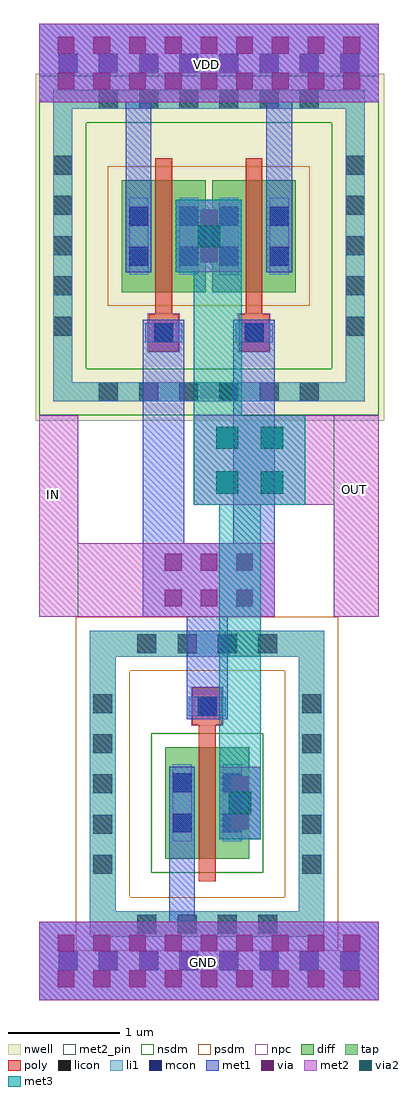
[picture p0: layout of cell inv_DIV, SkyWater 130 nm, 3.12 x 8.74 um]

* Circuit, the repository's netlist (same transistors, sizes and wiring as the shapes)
** sch_path: /foss/designs/RO_Aging_UNICASS/DIV/inv_DIV/inv_DIV.sch
.subckt inv_DIV VDD OUT IN GND
*.PININFO VDD:B OUT:B GND:B IN:B
M3 OUT IN GND GND sky130_fd_pr__nfet_01v8 L=0.15 W=1 nf=1 m=1
M1 OUT IN VDD VDD sky130_fd_pr__pfet_01v8 L=0.15 W=1 nf=1 m=2
.ends
.end

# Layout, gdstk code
import gdstk
lib = gdstk.Library(unit=1e-6, precision=1e-09)
def R(c, l, rs):  # rectangles x0, y0, x1, y1
    for r in rs: c.add(gdstk.rectangle(r[:2], r[2:], *l))
def A(c, l, x, y, w, h, nx, ny, dx, dy):  # array of equal rectangles
    R(c, l, [(x+i*dx, y+j*dy, x+i*dx+w, y+j*dy+h) for i in range(nx) for j in range(ny)])
def P(c, l, *ps):  # polygons
    for p in ps: c.add(gdstk.Polygon(p, *l))
nwell = (64, 20)
diff = (65, 20)
tap = (65, 44)
poly = (66, 20)
licon = (66, 44)
li1 = (67, 20)
mcon = (67, 44)
met1 = (68, 20)
via = (68, 44)
met2_pin = (69, 16)
met2 = (69, 20)
via2 = (69, 44)
met3 = (70, 20)
nsdm = (93, 44)
psdm = (94, 20)
npc = (95, 20)

vias_gen_3 = lib.new_cell('vias_gen$3')
R(vias_gen_3, li1, [(0,0,3.04,0.7)])
A(vias_gen_3, mcon, 0.175, 0.265, 0.17, 0.17, 8, 1, 0.36, 0)
R(vias_gen_3, met1, [(0,0,3.04,0.7)])
A(vias_gen_3, via, 0.165, 0.115, 0.15, 0.15, 9, 2, 0.32, 0.32)
R(vias_gen_3, met2, [(0,0,3.04,0.7)])

pfet = lib.new_cell('pfet')
R(pfet, nwell, [(-0.305,-0.72,1.055,1.38)])
R(pfet, diff, [(0,0,0.75,1)])
R(pfet, poly, [(0.24,-0.53,0.51,-0.2), (0.3,-0.2,0.45,1.2)])
R(pfet, licon, [(0.29,-0.45,0.46,-0.28), (0.065,0.235,0.235,0.405), (0.515,0.235,0.685,0.405), (0.065,0.595,0.235,0.765), (0.515,0.595,0.685,0.765)])
R(pfet, li1, [(0.21,-0.45,0.54,-0.28), (0.065,0.155,0.235,0.845), (0.515,0.155,0.685,0.845)])
R(pfet, mcon, [(0.29,-0.45,0.46,-0.28), (0.065,0.235,0.235,0.405), (0.515,0.235,0.685,0.405), (0.065,0.595,0.235,0.765), (0.515,0.595,0.685,0.765)])
R(pfet, met1, [(0.19,-0.48,0.56,-0.25), (0.035,0.175,0.265,0.825), (0.485,0.175,0.715,0.825)])
R(pfet, psdm, [(-0.125,-0.125,0.875,1.125)])
R(pfet, npc, [(0.23,-0.54,0.52,-0.19)])

guard_ring_gen_3 = lib.new_cell('guard_ring_gen$3')
P(guard_ring_gen_3, tap, [(-0.23,-0.23),(-0.23,2.28),(0,2.28),(0,0),(1.64,0),(1.64,2.28),(-0.23,2.28),(-0.23,2.51),(1.87,2.51),(1.87,-0.23)])
A(guard_ring_gen_3, licon, 0.195, -0.2, 0.17, 0.17, 4, 2, 0.36, 2.51)
A(guard_ring_gen_3, licon, -0.2, 0.335, 0.17, 0.17, 1, 5, 0, 0.36)
A(guard_ring_gen_3, licon, 1.67, 0.335, 0.17, 0.17, 1, 5, 0, 0.36)
P(guard_ring_gen_3, li1, [(-0.23,-0.23),(-0.23,2.28),(0,2.28),(0,0),(1.64,0),(1.64,2.28),(-0.23,2.28),(-0.23,2.51),(1.87,2.51),(1.87,-0.23)])
P(guard_ring_gen_3, psdm, [(-0.355,-0.355),(-0.355,2.155),(0.125,2.155),(0.125,0.125),(1.515,0.125),(1.515,2.155),(-0.355,2.155),(-0.355,2.635),(1.995,2.635),(1.995,-0.355)])

nfet_1 = lib.new_cell('nfet$1')
R(nfet_1, diff, [(0,0,0.75,1)])
R(nfet_1, poly, [(0.3,-0.2,0.45,1.2), (0.24,1.2,0.51,1.53)])
R(nfet_1, licon, [(0.065,0.235,0.235,0.405), (0.515,0.235,0.685,0.405), (0.065,0.595,0.235,0.765), (0.515,0.595,0.685,0.765), (0.29,1.28,0.46,1.45)])
R(nfet_1, li1, [(0.065,0.155,0.235,0.845), (0.515,0.155,0.685,0.845), (0.21,1.28,0.54,1.45)])
R(nfet_1, mcon, [(0.065,0.235,0.235,0.405), (0.515,0.235,0.685,0.405), (0.065,0.595,0.235,0.765), (0.515,0.595,0.685,0.765), (0.29,1.28,0.46,1.45)])
R(nfet_1, met1, [(0.035,0.175,0.265,0.825), (0.485,0.175,0.715,0.825), (0.19,1.25,0.56,1.48)])
R(nfet_1, nsdm, [(-0.125,-0.125,0.875,1.125)])
R(nfet_1, npc, [(0.23,1.19,0.52,1.54)])

vias_gen = lib.new_cell('vias_gen')
R(vias_gen, met1, [(0,0,1.18,0.66)])
A(vias_gen, via, 0.195, 0.095, 0.15, 0.15, 3, 2, 0.32, 0.32)
R(vias_gen, met2, [(0,0,1.18,0.66)])

vias_gen_6 = lib.new_cell('vias_gen$6')
R(vias_gen_6, met1, [(0,0,0.37,0.65)])
R(vias_gen_6, via, [(0.11,0.09,0.26,0.24), (0.11,0.41,0.26,0.56)])
R(vias_gen_6, met2, [(0,0,0.37,0.65)])
R(vias_gen_6, via2, [(0.085,0.225,0.285,0.425)])
R(vias_gen_6, met3, [(0,0,0.37,0.65)])

vias_gen_1 = lib.new_cell('vias_gen$1')
R(vias_gen_1, met1, [(0,0,0.59,0.65)])
R(vias_gen_1, via, [(0.22,0.09,0.37,0.24), (0.22,0.41,0.37,0.56)])
R(vias_gen_1, met2, [(0,0,0.59,0.65)])
R(vias_gen_1, via2, [(0.195,0.225,0.395,0.425)])
R(vias_gen_1, met3, [(0,0,0.59,0.65)])

vias_gen_2 = lib.new_cell('vias_gen$2')
R(vias_gen_2, met2, [(0,0,1,0.8)])
R(vias_gen_2, via2, [(0.2,0.1,0.4,0.3), (0.6,0.1,0.8,0.3), (0.2,0.5,0.4,0.7), (0.6,0.5,0.8,0.7)])
R(vias_gen_2, met3, [(0,0,1,0.8)])

guard_ring_gen = lib.new_cell('guard_ring_gen')
P(guard_ring_gen, tap, [(-0.17,-0.17),(-0.17,2.45),(0,2.45),(0,0),(2.45,0),(2.45,2.45),(-0.17,2.45),(-0.17,2.62),(2.62,2.62),(2.62,-0.17)])
A(guard_ring_gen, licon, 0.24, -0.17, 0.17, 0.17, 6, 2, 0.36, 2.62)
A(guard_ring_gen, licon, -0.17, 0.42, 0.17, 0.17, 1, 5, 0, 0.36)
A(guard_ring_gen, licon, 2.45, 0.42, 0.17, 0.17, 1, 5, 0, 0.36)
P(guard_ring_gen, li1, [(-0.17,-0.17),(-0.17,2.45),(0,2.45),(0,0),(2.45,0),(2.45,2.45),(-0.17,2.45),(-0.17,2.62),(2.62,2.62),(2.62,-0.17)])
P(guard_ring_gen, nsdm, [(-0.295,-0.295),(-0.295,2.325),(0.125,2.325),(0.125,0.125),(2.325,0.125),(2.325,2.325),(-0.295,2.325),(-0.295,2.745),(2.745,2.745),(2.745,-0.295)])

inv_div = lib.new_cell('inv_DIV')
R(inv_div, nwell, [(2.05,0.44,5.17,3.55)])
R(inv_div, met1, [(3.245,-4.095,3.475,-3.305), (3.4,-2,3.77,-1.29), (3.82,-0.76,4.19,1.345), (3.01,-0.68,3.38,1.345), (3.535,1.77,3.665,2.42), (2.855,2.42,3.085,3.32), (4.115,2.42,4.345,3.31)])
R(inv_div, met2_pin, [(2.08,-4.745,5.12,-4.045), (2.08,-1.315,2.43,0.49), (4.72,-1.315,5.12,0.49), (2.08,3.295,5.12,3.995)])
R(inv_div, met2, [(2.08,-1.315,2.43,0.49), (2.08,-1.315,4.19,-0.655), (4.72,-1.315,5.12,0.49), (3.465,-0.31,5.12,0.49)])
R(inv_div, met3, [(3.695,-2.655,4.065,-0.29), (3.465,0.45,3.895,1.86)])
inv_div.add(gdstk.Reference(vias_gen_3, (2.08,-4.745)))
inv_div.add(gdstk.Reference(pfet, (2.82,1.595)))
inv_div.add(gdstk.Reference(pfet, (3.63,1.595)))
inv_div.add(gdstk.Reference(vias_gen_3, (2.08,3.295)))
inv_div.add(gdstk.Reference(guard_ring_gen_3, (2.765,-3.95)))
inv_div.add(gdstk.Reference(nfet_1, (3.21,-3.48)))
inv_div.add(gdstk.Reference(vias_gen, (3.01,-1.315)))
inv_div.add(gdstk.Reference(vias_gen_6, (3.695,-3.305)))
inv_div.add(gdstk.Reference(vias_gen_1, (3.305,1.77)))
inv_div.add(gdstk.Reference(vias_gen_2, (3.465,-0.31)))
inv_div.add(gdstk.Reference(guard_ring_gen, (2.375,0.785)))
inv_div.add(gdstk.Label('GND', (3.55,-4.405), layer=69, texttype=5))
inv_div.add(gdstk.Label('VDD', (3.575,3.63), layer=69, texttype=5))
inv_div.add(gdstk.Label('IN', (2.21,-0.215), layer=69, texttype=5))
inv_div.add(gdstk.Label('OUT', (4.905,-0.175), layer=69, texttype=5))

lib.write_gds('inv_DIV.gds')
